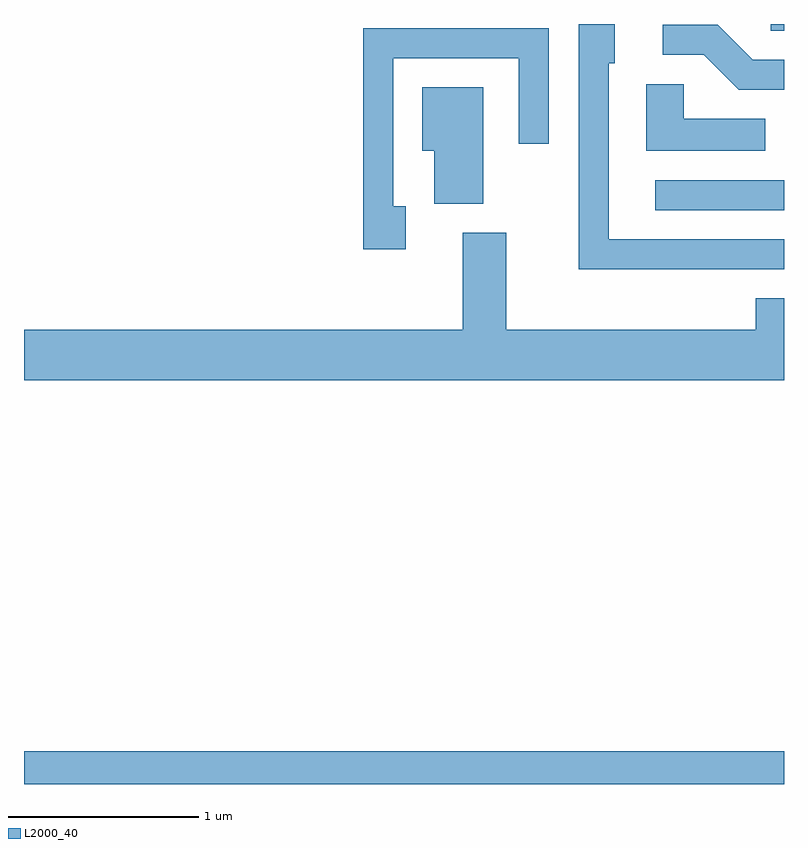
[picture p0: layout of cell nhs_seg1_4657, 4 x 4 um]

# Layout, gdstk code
import gdstk
lib = gdstk.Library(unit=1e-6, precision=1e-09)
def R(c, l, rs):  # rectangles x0, y0, x1, y1
    for r in rs: c.add(gdstk.rectangle(r[:2], r[2:], *l))
def P(c, l, *ps):  # polygons
    for p in ps: c.add(gdstk.Polygon(p, *l))
L2000_40 = (2000, 40)

nhs_seg1_4657 = lib.new_cell('nhs_seg1_4657')
R(nhs_seg1_4657, L2000_40, [(325.611,859.712,329.611,859.884), (328.933,862.731,329.611,862.889), (329.541,863.676,329.611,863.712)])
P(nhs_seg1_4657, L2000_40, [(329.611,862.579),(328.689,862.579),(328.689,863.506),(328.719,863.506),(328.719,863.712),(328.531,863.712),(328.531,862.421),(329.611,862.421)],
  [(329.611,863.524),(329.447,863.524),(329.262,863.709),(328.973,863.709),(328.973,863.551),(329.189,863.551),(329.374,863.366),(329.611,863.366)],
  [(327.619,862.754),(327.554,862.754),(327.554,863.531),(328.216,863.531),(328.216,863.083),(328.374,863.083),(328.374,863.689),(327.396,863.689),(327.396,862.526),(327.619,862.526)],
  [(329.513,863.214),(329.084,863.214),(329.084,863.394),(328.886,863.394),(328.886,863.046),(329.513,863.046)],
  [(328.029,863.379),(327.706,863.379),(327.706,863.046),(327.771,863.046),(327.771,862.766),(328.029,862.766)],
  [(329.611,862.269),(329.461,862.269),(329.461,862.104),(328.149,862.104),(328.149,862.614),(327.921,862.614),(327.921,862.104),(325.611,862.104),(325.611,861.836),(329.611,861.836)])

lib.write_gds('nhs_seg1_4657.gds')
